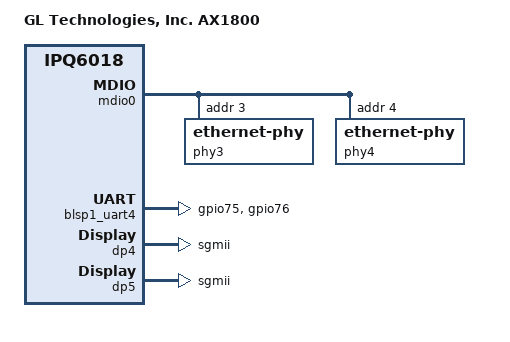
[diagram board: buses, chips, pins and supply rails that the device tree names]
/dts-v1/;
/*
 * Copyright (c) 2019, The Linux Foundation. All rights reserved.
 *
 * Permission to use, copy, modify, and/or distribute this software for any
 * purpose with or without fee is hereby granted, provided that the above
 * copyright notice and this permission notice appear in all copies.
 *
 * THE SOFTWARE IS PROVIDED "AS IS" AND THE AUTHOR DISCLAIMS ALL WARRANTIES
 * WITH REGARD TO THIS SOFTWARE INCLUDING ALL IMPLIED WARRANTIES OF
 * MERCHANTABILITY AND FITNESS. IN NO EVENT SHALL THE AUTHOR BE LIABLE FOR
 * ANY SPECIAL, DIRECT, INDIRECT, OR CONSEQUENTIAL DAMAGES OR ANY DAMAGES
 * WHATSOEVER RESULTING FROM LOSS OF USE, DATA OR PROFITS, WHETHER IN AN
 * ACTION OF CONTRACT, NEGLIGENCE OR OTHER TORTIOUS ACTION, ARISING OUT OF
 * OR IN CONNECTION WITH THE USE OR PERFORMANCE OF THIS SOFTWARE.
 */

#include "qcom-ipq6018-gl-ax1800.dtsi"

/ {
	model = "GL Technologies, Inc. AX1800";
	compatible = "glinet,ax1800", "qcom,ipq6018-cp03", "qcom,ipq6018";

	aliases {
		serial0 = &blsp1_uart3; //system uart = ttyMSM0
		serial1 = &blsp1_uart4; //tl8251      = ttyMSM1
		ethernet3 = "/soc/dp4";
		ethernet4 = "/soc/dp5";
	};
};

&gl_hw {
	model = "ax1800";
	lan = "eth1 eth2 eth3 eth4";
	usb-port = "1-1";
};

&mdio0 {
	phy3: ethernet-phy@3 {
		reg = <3>;
	};
	phy4: ethernet-phy@4 {
		reg = <4>;
	};
};

&ess0 {
	switch_lan_bmp = <0x3c>; /* lan port bitmap */

	qcom,port_phyinfo {
		port@3 {
			port_id = <4>;
			phy_address = <3>;
		};
		port@4 {
			port_id = <5>;
			phy_address = <4>;
		};
	};
};

&soc {
	blsp1_uart4: serial@78b2000 {
		compatible = "qcom,msm-uartdm-v1.4", "qcom,msm-uartdm";
		reg = <0x78b2000 0x200>;
		interrupts = <GIC_SPI 307 IRQ_TYPE_LEVEL_HIGH>;
		clocks = <&gcc GCC_BLSP1_UART4_APPS_CLK>,
			<&gcc GCC_BLSP1_AHB_CLK>;
		clock-names = "core", "iface";
		status = "disabled";
	};

	dp4 {
		device_type = "network";
		compatible = "qcom,nss-dp";
		qcom,id = <4>;
		reg = <0x3a001600 0x200>;
		qcom,mactype = <0>;
		local-mac-address = [000000000000];
		qcom,link-poll = <1>;
		qcom,phy-mdio-addr = <3>;
		phy-mode = "sgmii";
	};

	dp5 {
		device_type = "network";
		compatible = "qcom,nss-dp";
		qcom,id = <5>;
		reg = <0x3a001800 0x200>;
		qcom,mactype = <0>;
		local-mac-address = [000000000000];
		qcom,link-poll = <1>;
		qcom,phy-mdio-addr = <4>;
		phy-mode = "sgmii";
	};
};

&tlmm {
	uart_pins: uart_pins {
		mux_1 {
			pins = "gpio42", "gpio43"; // i2c
			function = "gpio";
			bias-pull-up;
		};
	};
	uart_tl8251_pins: uart_tl8251_pins {
		mux {
			pins = "gpio75", "gpio76"; // gpio 77 reset tl8251
			function = "blsp3_uart";
			drive-strength = <8>;
			bias-pull-down;
		};
	};
};

&blsp1_uart4 {
	pinctrl-0 = <&uart_tl8251_pins>;
	pinctrl-names = "default";
	status = "ok";
};
